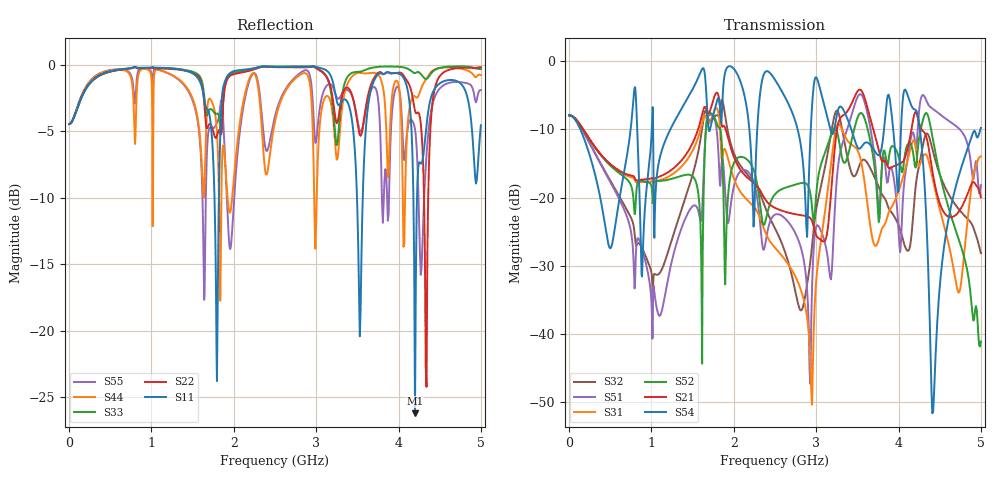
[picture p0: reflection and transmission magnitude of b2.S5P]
!Generated from: C:\Users\nkfzm\OneDrive - University of Missouri\Desktop\Research\PowerSI\Board 2.1 - GPGGGG\attempt 2.spd
! Port1_ic_port_1::pwr
! Port2_decap_port1_1::pwr
! Port3_decap_port2_1::pwr
! Port4_decap_port3_1::pwr
! Port5_decap_port4_1::pwr
!Layout Workbench Version: 24.1.0.10141.541387  000
!Computer Host Name: RS29JQCX3
!TouchstoneFormatFlag = 1
! GNDNET gnd
! NETSLIST
#	Hz	S	RI	R	50
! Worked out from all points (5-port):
!   885 points, 10 kHz to 5 GHz, reference 50 ohm
!   strongest paths, dB at 10 kHz, 374 MHz, 1.29 GHz, 2.79 GHz, 5 GHz:
!     S54: -8.0, -19.8, -8.6, -10.8, -9.8
!     S21: -8.0, -13.5, -15.5, -22.5, -20.0
!     S52: -8.0, -13.6, -17.1, -18.0, -41.1
!     S31: -8.0, -13.6, -16.3, -32.7, -14.0
!     S51: -8.0, -14.9, -27.3, -26.4, -18.2
!     S32: -8.0, -14.8, -24.6, -36.0, -28.1
!   lowest |S11| = -26.2 dB at 4.2 GHz (marker M1), VSWR 1.10, Z = 54.8 - j1.72 ohm
!   |S11| at or under -10 dB: 1.766 GHz to 1.819 GHz (52.97 MHz wide, 2.96 % of centre); 3.495 GHz to 3.566 GHz (70.23 MHz wide, 1.99 % of centre); 4.181 GHz to 4.225 GHz (43.98 MHz wide, 1.05 % of centre)
